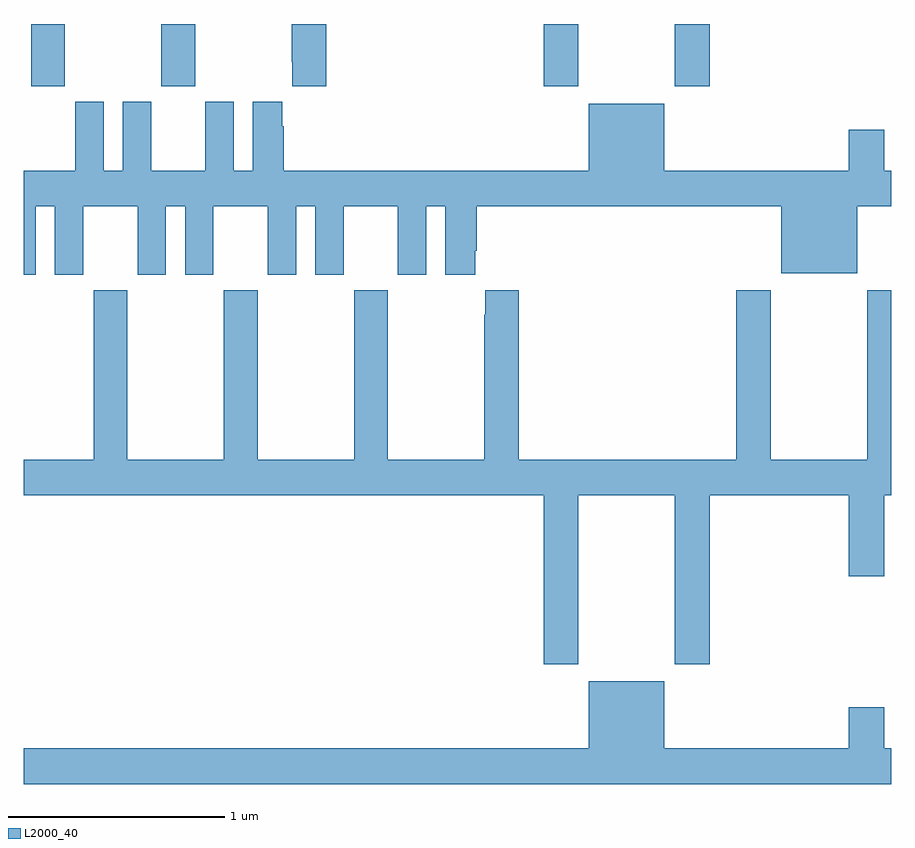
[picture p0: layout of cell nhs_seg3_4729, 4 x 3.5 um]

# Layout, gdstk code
import gdstk
lib = gdstk.Library(unit=1e-6, precision=1e-09)
def R(c, l, rs):  # rectangles x0, y0, x1, y1
    for r in rs: c.add(gdstk.rectangle(r[:2], r[2:], *l))
def P(c, l, *ps):  # polygons
    for p in ps: c.add(gdstk.Polygon(p, *l))
L2000_40 = (2000, 40)

nhs_seg3_4729 = lib.new_cell('nhs_seg3_4729')
R(nhs_seg3_4729, L2000_40, [(365.035,724.113,365.19,724.4), (365.635,724.113,365.79,724.4), (367.397,724.113,367.557,724.4), (368.002,724.113,368.162,724.4)])
P(nhs_seg3_4729, L2000_40, [(366.395,724.4),(366.235,724.4),(366.235,724.225),(366.239,724.225),(366.239,724.113),(366.395,724.113)],
  [(365.056,723.56),(365.144,723.56),(365.144,723.243),(365.275,723.243),(365.275,723.56),(365.525,723.56),(365.525,723.243),(365.656,723.243),(365.656,723.56),(365.744,723.56),(365.744,723.243),(365.875,723.243),(365.875,723.56),(366.125,723.56),(366.125,723.243),(366.256,723.243),(366.256,723.56),(366.344,723.56),(366.344,723.243),(366.475,723.243),(366.475,723.56),(366.725,723.56),(366.725,723.243),(366.856,723.243),(366.856,723.56),(366.944,723.56),(366.944,723.243),(367.081,723.243),(367.081,723.355),(367.088,723.355),(367.088,723.56),(368.492,723.56),(368.492,723.251),(368.842,723.251),(368.842,723.56),(369,723.56),(369,723.724),(368.968,723.724),(368.968,723.913),(368.804,723.913),(368.804,723.724),(367.954,723.724),(367.954,724.033),(367.604,724.033),(367.604,723.724),(366.2,723.724),(366.2,723.929),(366.193,723.929),(366.193,724.042),(366.056,724.042),(366.056,723.724),(365.968,723.724),(365.968,724.042),(365.837,724.042),(365.837,723.724),(365.587,723.724),(365.587,724.042),(365.456,724.042),(365.456,723.724),(365.368,723.724),(365.368,724.042),(365.237,724.042),(365.237,723.724),(365,723.724),(365,723.243),(365.056,723.243)],
  [(367.127,723.172),(367.127,723.059),(367.123,723.059),(367.123,722.392),(366.678,722.392),(366.678,723.172),(366.523,723.172),(366.523,722.392),(366.078,722.392),(366.078,723.172),(365.923,723.172),(365.923,722.392),(365.478,722.392),(365.478,723.172),(365.323,723.172),(365.323,722.392),(365,722.392),(365,722.228),(367.397,722.228),(367.397,721.449),(367.557,721.449),(367.557,722.228),(368.002,722.228),(368.002,721.449),(368.162,721.449),(368.162,722.228),(368.804,722.228),(368.804,721.854),(368.968,721.854),(368.968,722.228),(369,722.228),(369,723.172),(368.89,723.172),(368.89,722.392),(368.445,722.392),(368.445,723.172),(368.285,723.172),(368.285,722.392),(367.283,722.392),(367.283,723.172)],
  [(369,721.06),(368.968,721.06),(368.968,721.249),(368.804,721.249),(368.804,721.06),(367.954,721.06),(367.954,721.369),(367.604,721.369),(367.604,721.06),(365,721.06),(365,720.896),(369,720.896)])

lib.write_gds('nhs_seg3_4729.gds')
